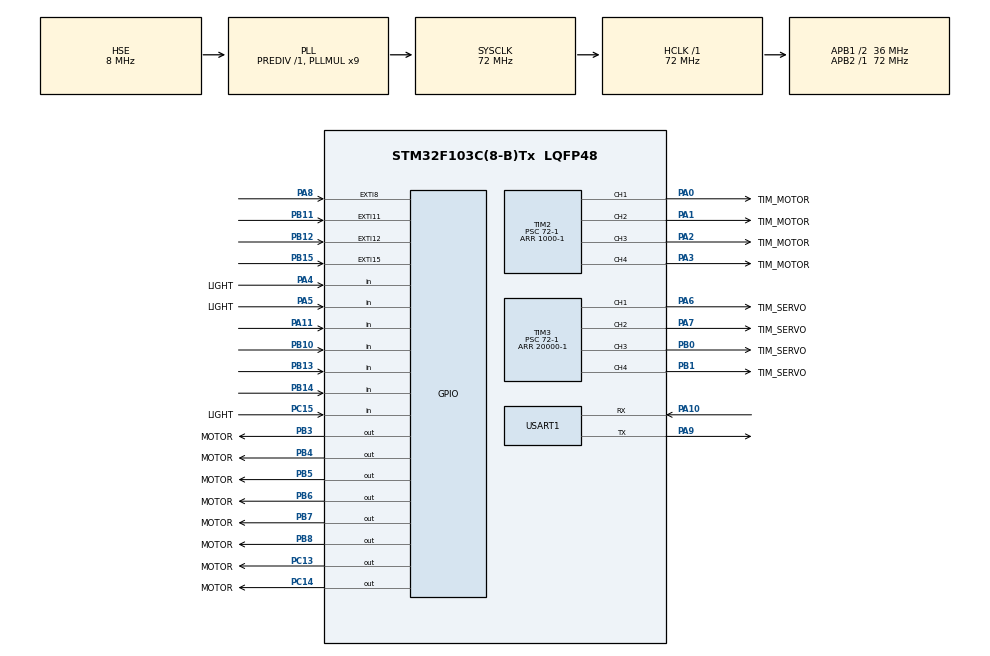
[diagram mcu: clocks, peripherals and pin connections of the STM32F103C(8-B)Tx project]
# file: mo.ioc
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FREERTOS.Tasks01=defaultTask,24,128,StartDefaultTask,Default,NULL,Dynamic,NULL,NULL
FREERTOS.configMINIMAL_STACK_SIZE=64
FREERTOS.configTOTAL_HEAP_SIZE=10000
Mcu.Family=STM32F1
Mcu.Name=STM32F103C(8-B)Tx
Mcu.Package=LQFP48
NVIC.EXTI15_10_IRQn=true\:5\:0\:false\:false\:true\:true\:true\:true\:true
NVIC.EXTI9_5_IRQn=true\:5\:0\:false\:false\:true\:false\:true\:true\:true
NVIC.PriorityGroup=NVIC_PRIORITYGROUP_4
NVIC.TIM4_IRQn=true\:15\:0\:false\:false\:true\:false\:false\:true\:true
NVIC.TimeBase=TIM4_IRQn
NVIC.TimeBaseIP=TIM4
NVIC.USART1_IRQn=true\:5\:0\:false\:false\:true\:true\:true\:true\:true
PA0-WKUP.GPIO_Label=TIM_MOTOR
PA0-WKUP.GPIO_ModeDefaultPP=GPIO_MODE_AF_PP
PA0-WKUP.GPIO_Speed=GPIO_SPEED_FREQ_HIGH
PA0-WKUP.Signal=S_TIM2_CH1_ETR
PA1.GPIO_Label=TIM_MOTOR
PA1.GPIO_ModeDefaultPP=GPIO_MODE_AF_PP
PA1.GPIO_Speed=GPIO_SPEED_FREQ_HIGH
PA1.Signal=S_TIM2_CH2
PA10.Mode=Asynchronous
PA10.Signal=USART1_RX
PA11.Signal=GPIO_Input
PA13.Mode=Serial_Wire
PA13.Signal=SYS_JTMS-SWDIO
PA14.Mode=Serial_Wire
PA14.Signal=SYS_JTCK-SWCLK
PA2.GPIO_Label=TIM_MOTOR
PA2.GPIO_ModeDefaultPP=GPIO_MODE_AF_PP
PA2.GPIO_Speed=GPIO_SPEED_FREQ_HIGH
PA2.Signal=S_TIM2_CH3
PA3.GPIO_Label=TIM_MOTOR
PA3.GPIO_ModeDefaultPP=GPIO_MODE_AF_PP
PA3.GPIO_Speed=GPIO_SPEED_FREQ_HIGH
PA3.Signal=S_TIM2_CH4
PA4.GPIO_Label=LIGHT
PA4.GPIO_Mode=GPIO_MODE_INPUT
PA4.GPIO_PuPd=GPIO_PULLUP
PA4.Signal=GPIO_Input
PA5.GPIO_Label=LIGHT
PA5.GPIO_Mode=GPIO_MODE_INPUT
PA5.GPIO_PuPd=GPIO_PULLUP
PA5.Signal=GPIO_Input
PA6.GPIO_Label=TIM_SERVO
PA6.GPIO_ModeDefaultPP=GPIO_MODE_AF_PP
PA6.GPIO_Speed=GPIO_SPEED_FREQ_HIGH
PA6.Signal=S_TIM3_CH1
PA7.GPIO_Label=TIM_SERVO
PA7.GPIO_ModeDefaultPP=GPIO_MODE_AF_PP
PA7.GPIO_Speed=GPIO_SPEED_FREQ_HIGH
PA7.Signal=S_TIM3_CH2
PA8.Signal=GPXTI8
PA9.Mode=Asynchronous
PA9.Signal=USART1_TX
PB0.GPIO_Label=TIM_SERVO
PB0.GPIO_ModeDefaultPP=GPIO_MODE_AF_PP
PB0.GPIO_Speed=GPIO_SPEED_FREQ_HIGH
PB0.Signal=S_TIM3_CH3
PB1.GPIO_Label=TIM_SERVO
PB1.GPIO_ModeDefaultPP=GPIO_MODE_AF_PP
PB1.GPIO_Speed=GPIO_SPEED_FREQ_HIGH
PB1.Signal=S_TIM3_CH4
PB10.Signal=GPIO_Input
PB11.Signal=GPXTI11
PB12.Signal=GPXTI12
PB13.Signal=GPIO_Input
PB14.Signal=GPIO_Input
PB15.Signal=GPXTI15
PB3.GPIO_Label=MOTOR
PB3.GPIO_ModeDefaultOutputPP=GPIO_MODE_OUTPUT_PP
PB3.GPIO_PuPd=GPIO_PULLDOWN
PB3.GPIO_Speed=GPIO_SPEED_FREQ_HIGH
PB3.PinState=GPIO_PIN_SET
PB3.Signal=GPIO_Output
PB4.GPIO_Label=MOTOR
PB4.GPIO_ModeDefaultOutputPP=GPIO_MODE_OUTPUT_PP
PB4.GPIO_PuPd=GPIO_PULLDOWN
PB4.GPIO_Speed=GPIO_SPEED_FREQ_HIGH
PB4.PinState=GPIO_PIN_SET
PB4.Signal=GPIO_Output
PB5.GPIO_Label=MOTOR
PB5.GPIO_ModeDefaultOutputPP=GPIO_MODE_OUTPUT_PP
PB5.GPIO_PuPd=GPIO_PULLDOWN
PB5.GPIO_Speed=GPIO_SPEED_FREQ_HIGH
PB5.PinState=GPIO_PIN_SET
PB5.Signal=GPIO_Output
PB6.GPIO_Label=MOTOR
PB6.GPIO_ModeDefaultOutputPP=GPIO_MODE_OUTPUT_PP
PB6.GPIO_PuPd=GPIO_PULLDOWN
PB6.GPIO_Speed=GPIO_SPEED_FREQ_HIGH
PB6.PinState=GPIO_PIN_SET
PB6.Signal=GPIO_Output
PB7.GPIO_Label=MOTOR
PB7.GPIO_ModeDefaultOutputPP=GPIO_MODE_OUTPUT_PP
PB7.GPIO_PuPd=GPIO_PULLDOWN
PB7.GPIO_Speed=GPIO_SPEED_FREQ_HIGH
PB7.PinState=GPIO_PIN_SET
PB7.Signal=GPIO_Output
PB8.GPIO_Label=MOTOR
PB8.GPIO_ModeDefaultOutputPP=GPIO_MODE_OUTPUT_PP
PB8.GPIO_PuPd=GPIO_PULLDOWN
PB8.GPIO_Speed=GPIO_SPEED_FREQ_HIGH
PB8.PinState=GPIO_PIN_SET
PB8.Signal=GPIO_Output
PC13-TAMPER-RTC.GPIO_Label=MOTOR
PC13-TAMPER-RTC.GPIO_ModeDefaultOutputPP=GPIO_MODE_OUTPUT_PP
PC13-TAMPER-RTC.GPIO_PuPd=GPIO_PULLDOWN
PC13-TAMPER-RTC.GPIO_Speed=GPIO_SPEED_FREQ_HIGH
PC13-TAMPER-RTC.PinState=GPIO_PIN_SET
PC13-TAMPER-RTC.Signal=GPIO_Output
PC14-OSC32_IN.GPIO_Label=MOTOR
PC14-OSC32_IN.GPIO_ModeDefaultOutputPP=GPIO_MODE_OUTPUT_PP
PC14-OSC32_IN.GPIO_PuPd=GPIO_PULLDOWN
PC14-OSC32_IN.GPIO_Speed=GPIO_SPEED_FREQ_HIGH
PC14-OSC32_IN.PinState=GPIO_PIN_SET
PC14-OSC32_IN.Signal=GPIO_Output
PC15-OSC32_OUT.GPIO_Label=LIGHT
PC15-OSC32_OUT.GPIO_Mode=GPIO_MODE_INPUT
PC15-OSC32_OUT.GPIO_PuPd=GPIO_PULLUP
PC15-OSC32_OUT.Signal=GPIO_Input
PD0-OSC_IN.Mode=HSE-External-Oscillator
PD0-OSC_IN.Signal=RCC_OSC_IN
PD1-OSC_OUT.Mode=HSE-External-Oscillator
PD1-OSC_OUT.Signal=RCC_OSC_OUT
ProjectManager.HeapSize=0x1000
ProjectManager.StackSize=0x800
ProjectManager.TargetToolchain=Makefile
RCC.AHBFreq_Value=72000000
RCC.APB1CLKDivider=RCC_HCLK_DIV2
RCC.APB1Freq_Value=36000000
RCC.APB1TimFreq_Value=72000000
RCC.APB2Freq_Value=72000000
RCC.APB2TimFreq_Value=72000000
RCC.HCLKFreq_Value=72000000
RCC.PLLMUL=RCC_PLL_MUL9
RCC.PLLSourceVirtual=RCC_PLLSOURCE_HSE
RCC.SYSCLKFreq_VALUE=72000000
RCC.SYSCLKSource=RCC_SYSCLKSOURCE_PLLCLK
RCC.USBFreq_Value=72000000
SH.S_TIM2_CH1_ETR.0=TIM2_CH1,PWM Generation1 CH1
SH.S_TIM2_CH2.0=TIM2_CH2,PWM Generation2 CH2
SH.S_TIM2_CH3.0=TIM2_CH3,PWM Generation3 CH3
SH.S_TIM2_CH4.0=TIM2_CH4,PWM Generation4 CH4
SH.S_TIM3_CH1.0=TIM3_CH1,PWM Generation1 CH1
SH.S_TIM3_CH2.0=TIM3_CH2,PWM Generation2 CH2
SH.S_TIM3_CH3.0=TIM3_CH3,PWM Generation3 CH3
SH.S_TIM3_CH4.0=TIM3_CH4,PWM Generation4 CH4
TIM2.Channel-PWM\ Generation1\ CH1=TIM_CHANNEL_1
TIM2.Channel-PWM\ Generation2\ CH2=TIM_CHANNEL_2
TIM2.Channel-PWM\ Generation3\ CH3=TIM_CHANNEL_3
TIM2.Channel-PWM\ Generation4\ CH4=TIM_CHANNEL_4
TIM2.Period=1000-1
TIM2.Prescaler=72-1
TIM3.Channel-PWM\ Generation1\ CH1=TIM_CHANNEL_1
TIM3.Channel-PWM\ Generation2\ CH2=TIM_CHANNEL_2
TIM3.Channel-PWM\ Generation3\ CH3=TIM_CHANNEL_3
TIM3.Channel-PWM\ Generation4\ CH4=TIM_CHANNEL_4
TIM3.Period=20000-1
TIM3.Prescaler=72-1
USART1.VirtualMode=VM_ASYNC
VP_FREERTOS_VS_CMSIS_V2.Mode=CMSIS_V2
VP_SYS_VS_tim4.Mode=TIM4
board=custom

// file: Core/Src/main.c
/* USER CODE BEGIN Header */
/**
  ******************************************************************************
  * @file           : main.c
  * @brief          : Main program body
  ******************************************************************************
  * @attention
  *
  * Copyright (c) 2024 STMicroelectronics.
  * All rights reserved.
  *
  * This software is licensed under terms that can be found in the LICENSE file
  * in the root directory of this software component.
  * If no LICENSE file comes with this software, it is provided AS-IS.
  *
  ******************************************************************************
  */
/* USER CODE END Header */
#include "main.h"
#include "cmsis_os.h"
#include "tim.h"
#include "usart.h"
#include "gpio.h"

void SystemClock_Config(void);
void MX_FREERTOS_Init(void);

int main(void)
{

  /* MCU Configuration--------------------------------------------------------*/

  /* Reset of all peripherals, Initializes the Flash interface and the Systick. */
  HAL_Init();

  /* Configure the system clock */
  SystemClock_Config();

  /* Initialize all configured peripherals */
  MX_GPIO_Init();
  MX_TIM2_Init();
  MX_TIM3_Init();
  MX_USART1_UART_Init();

  /* Init scheduler */
  osKernelInitialize();

  /* Call init function for freertos objects (in cmsis_os2.c) */
  MX_FREERTOS_Init();

  /* Start scheduler */
  osKernelStart();

  /* We should never get here as control is now taken by the scheduler */

  /* Infinite loop */
  while (1)
  {

  }
}

void SystemClock_Config(void)
{
  RCC_OscInitTypeDef RCC_OscInitStruct = {0};
  RCC_ClkInitTypeDef RCC_ClkInitStruct = {0};

  /** Initializes the RCC Oscillators according to the specified parameters
  * in the RCC_OscInitTypeDef structure.
  */
  RCC_OscInitStruct.OscillatorType = RCC_OSCILLATORTYPE_HSE;
  RCC_OscInitStruct.HSEState = RCC_HSE_ON;
  RCC_OscInitStruct.HSEPredivValue = RCC_HSE_PREDIV_DIV1;
  RCC_OscInitStruct.HSIState = RCC_HSI_ON;
  RCC_OscInitStruct.PLL.PLLState = RCC_PLL_ON;
  RCC_OscInitStruct.PLL.PLLSource = RCC_PLLSOURCE_HSE;
  RCC_OscInitStruct.PLL.PLLMUL = RCC_PLL_MUL9;
  if (HAL_RCC_OscConfig(&RCC_OscInitStruct) != HAL_OK)
  {
    Error_Handler();
  }

  /** Initializes the CPU, AHB and APB buses clocks
  */
  RCC_ClkInitStruct.ClockType = RCC_CLOCKTYPE_HCLK|RCC_CLOCKTYPE_SYSCLK
                              |RCC_CLOCKTYPE_PCLK1|RCC_CLOCKTYPE_PCLK2;
  RCC_ClkInitStruct.SYSCLKSource = RCC_SYSCLKSOURCE_PLLCLK;
  RCC_ClkInitStruct.AHBCLKDivider = RCC_SYSCLK_DIV1;
  RCC_ClkInitStruct.APB1CLKDivider = RCC_HCLK_DIV2;
  RCC_ClkInitStruct.APB2CLKDivider = RCC_HCLK_DIV1;

  if (HAL_RCC_ClockConfig(&RCC_ClkInitStruct, FLASH_LATENCY_2) != HAL_OK)
  {
    Error_Handler();
  }
}

void HAL_TIM_PeriodElapsedCallback(TIM_HandleTypeDef *htim)
{
  if (htim->Instance == TIM4) {
    HAL_IncTick();
  }
}

void Error_Handler(void)
{
  __disable_irq();
  while (1)
  {
  }
}

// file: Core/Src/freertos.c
/* USER CODE BEGIN Header */
/**
  ******************************************************************************
  * File Name          : freertos.c
  * Description        : Code for freertos applications
  ******************************************************************************
  * @attention
  *
  * Copyright (c) 2024 STMicroelectronics.
  * All rights reserved.
  *
  * This software is licensed under terms that can be found in the LICENSE file
  * in the root directory of this software component.
  * If no LICENSE file comes with this software, it is provided AS-IS.
  *
  ******************************************************************************
  */
/* USER CODE END Header */

#include "FreeRTOS.h"
#include "task.h"
#include "main.h"
#include "cmsis_os.h"

/* USER CODE BEGIN Includes */
#include "motor.h"
#include "uart.h"
#include "servo.h"
/* USER CODE END Includes */

/* Definitions for defaultTask */
osThreadId_t defaultTaskHandle;
const osThreadAttr_t defaultTask_attributes = {
  .name = "defaultTask",
  .stack_size = 128 * 4,
  .priority = (osPriority_t) osPriorityNormal,
};

void StartDefaultTask(void *argument);

void MX_FREERTOS_Init(void); /* (MISRA C 2004 rule 8.1) */

void MX_FREERTOS_Init(void) {
  /* USER CODE BEGIN Init */
  BaseType_t xReturn;
  /* USER CODE END Init */

  /* USER CODE BEGIN RTOS_MUTEX */
  /* add mutexes, ... */
	UARTPRINTF_SemaphoreHandle = xSemaphoreCreateMutex();
  // SemaphoreHandle_t xMotorSemaphore[3];
  for(uint8_t i=0; i<3; i++)
  {
    xMotorSemaphore[i] = xSemaphoreCreateBinary();
    xSemaphoreGive(xMotorSemaphore[i]);
  }
  /* USER CODE END RTOS_MUTEX */

  /* USER CODE BEGIN RTOS_TIMERS */
  /* start timers, add new ones, ... */
	 SpeedGetHandle = xTimerCreate(
		"SpeedGet",
		1,
		pdTRUE,
		0,
		SpeedSetTimerFun
	 );

	 KeyTimerHandle = xTimerCreate(
		"KeyTimer",
		20,
		pdTRUE,
		0,
		KeyTimerFunc
	 );

// TimerHandle_t xOneShotTimer1;
// TimerHandle_t xOneShotTimer2;
// TimerHandle_t xOneShotTimer3;
  xOneShotTimer1 = xTimerCreate(
    "OneShotTimer1",
     pdMS_TO_TICKS(2000),
     pdFALSE,
     0,
     vONEShotTimerFunc1
  );
  xOneShotTimer2 = xTimerCreate(
    "OneShotTimer2",
     pdMS_TO_TICKS(2000),
     pdFALSE,
     0,
     vONEShotTimerFunc2
  );
  xOneShotTimer3 = xTimerCreate(
    "OneShotTimer3",
     pdMS_TO_TICKS(2000),
     pdFALSE,
     0,
     vONEShotTimerFunc3
  );

  /* USER CODE END RTOS_TIMERS */

  /* Create the thread(s) */
  /* creation of defaultTask */
  defaultTaskHandle = osThreadNew(StartDefaultTask, NULL, &defaultTask_attributes);

  /* USER CODE BEGIN RTOS_THREADS */
  /* add threads, ... */
  	xReturn = xTaskCreate(Motor_Task,"Motor",256,NULL,10,&MotorHandle);
	if(xReturn != pdTRUE)
	{
		UartPrintf("Uart False!!!");
	}
  	xReturn = xTaskCreate(Uart_Task,"Uart",512,NULL,10,&UartHandle);
	if(xReturn != pdTRUE)
	{
		UartPrintf("Uart False!!!");
	}
  	xReturn = xTaskCreate(Servo_Task,"SERVO",256,NULL,10,&ServoHandle);
	if(xReturn != pdTRUE)
	{
		UartPrintf("Uart False!!!");
	}
  /* USER CODE END RTOS_THREADS */

}

void StartDefaultTask(void *argument)
{
  for(;;)
  {
    osDelay(1);
  }
}
